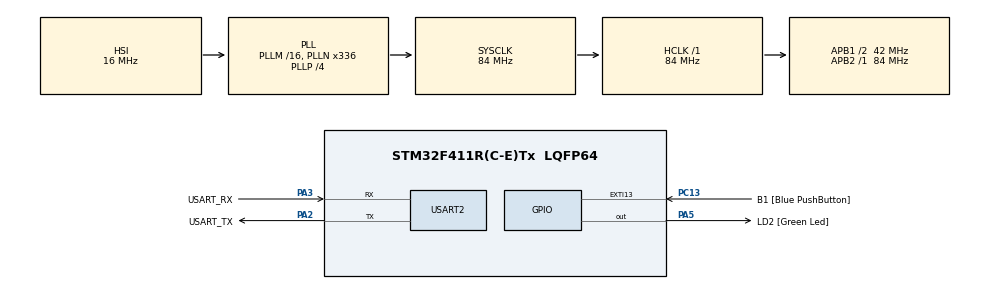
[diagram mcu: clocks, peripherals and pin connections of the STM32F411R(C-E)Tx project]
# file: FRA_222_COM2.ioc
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ARM.CMSIS.5.6.0.CMSISJjCORE=true
ARM.CMSIS.5.6.0.CMSISJjDSP=Library
Mcu.Family=STM32F4
Mcu.Name=STM32F411R(C-E)Tx
Mcu.Package=LQFP64
NVIC.PriorityGroup=NVIC_PRIORITYGROUP_0
PA13.GPIO_Label=TMS
PA13.Mode=Trace_Asynchronous_SW
PA13.Signal=SYS_JTMS-SWDIO
PA14.GPIO_Label=TCK
PA14.Mode=Trace_Asynchronous_SW
PA14.Signal=SYS_JTCK-SWCLK
PA2.GPIO_Label=USART_TX
PA2.Mode=Asynchronous
PA2.Signal=USART2_TX
PA3.GPIO_Label=USART_RX
PA3.Mode=Asynchronous
PA3.Signal=USART2_RX
PA5.GPIO_Label=LD2 [Green Led]
PA5.Signal=GPIO_Output
PB3.GPIO_Label=SWO
PB3.Mode=Trace_Asynchronous_SW
PB3.Signal=SYS_JTDO-SWO
PC13-ANTI_TAMP.GPIO_Label=B1 [Blue PushButton]
PC13-ANTI_TAMP.GPIO_ModeDefaultEXTI=GPIO_MODE_IT_FALLING
PC13-ANTI_TAMP.Signal=GPXTI13
PC14-OSC32_IN.Mode=LSE-External-Oscillator
PC14-OSC32_IN.Signal=RCC_OSC32_IN
PC15-OSC32_OUT.Mode=LSE-External-Oscillator
PC15-OSC32_OUT.Signal=RCC_OSC32_OUT
PH0\ -\ OSC_IN.Mode=HSE-External-Clock-Source
PH0\ -\ OSC_IN.Signal=RCC_OSC_IN
PH1\ -\ OSC_OUT.Mode=HSE-External-Clock-Source
PH1\ -\ OSC_OUT.Signal=RCC_OSC_OUT
ProjectManager.HeapSize=0x200
ProjectManager.StackSize=0x400
ProjectManager.TargetToolchain=STM32CubeIDE
RCC.48MHZClocksFreq_Value=84000000
RCC.AHBFreq_Value=84000000
RCC.APB1CLKDivider=RCC_HCLK_DIV2
RCC.APB1Freq_Value=42000000
RCC.APB1TimFreq_Value=84000000
RCC.APB2Freq_Value=84000000
RCC.APB2TimFreq_Value=84000000
RCC.CortexFreq_Value=84000000
RCC.FLatency-AdvancedSettings=FLASH_LATENCY_2
RCC.HCLKFreq_Value=84000000
RCC.HSE_VALUE=8000000
RCC.HSI_VALUE=16000000
RCC.PLLN=336
RCC.PLLP=RCC_PLLP_DIV4
RCC.SYSCLKFreq_VALUE=84000000
RCC.SYSCLKSource=RCC_SYSCLKSOURCE_PLLCLK
RCC.VCOOutputFreq_Value=336000000
TIM2.Prescaler=83
USART2.VirtualMode=VM_ASYNC
VP_ARM.CMSIS_VS_CMSISJjCORE_5.3.0_5.6.0.Mode=CMSISJjCORE
VP_ARM.CMSIS_VS_CMSISJjDSP_1.7.0_5.6.0.Mode=CMSISJjDSP
VP_TIM2_VS_ClockSourceINT.Mode=Internal
board=NUCLEO-F411RE

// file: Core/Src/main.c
/* USER CODE BEGIN Header */
/**
  ******************************************************************************
  * @file           : main.c
  * @brief          : Main program body
  ******************************************************************************
  * @attention
  *
  * Copyright (c) 2023 STMicroelectronics.
  * All rights reserved.
  *
  * This software is licensed under terms that can be found in the LICENSE file
  * in the root directory of this software component.
  * If no LICENSE file comes with this software, it is provided AS-IS.
  *
  ******************************************************************************
  */
/* USER CODE END Header */
#include "main.h"

/* USER CODE BEGIN Includes */
#include "arm_math.h"
/* USER CODE END Includes */

TIM_HandleTypeDef htim2;

UART_HandleTypeDef huart2;

/* USER CODE BEGIN PV */
arm_pid_instance_f32 PID = {0};
float position = 0;
float setposition = 0;
float Vfeedback = 0;
/* USER CODE END PV */

void SystemClock_Config(void);
static void MX_GPIO_Init(void);
static void MX_USART2_UART_Init(void);
static void MX_TIM2_Init(void);
/* USER CODE BEGIN PFP */
float PlantSim(float Vin);
/* USER CODE END PFP */

int main(void)
{

  /* MCU Configuration--------------------------------------------------------*/

  /* Reset of all peripherals, Initializes the Flash interface and the Systick. */
  HAL_Init();

  /* Configure the system clock */
  SystemClock_Config();

  /* Initialize all configured peripherals */
  MX_GPIO_Init();
  MX_USART2_UART_Init();
  MX_TIM2_Init();
  /* USER CODE BEGIN 2 */
  HAL_TIM_Base_Start(&htim2);
PID.Kp = 0.001;
PID.Kd = 0;
PID.Ki = 0;
arm_pid_init_f32(&PID, 0);
  /* USER CODE END 2 */

  /* Infinite loop */
while (1)
{
	  static uint32_t timestamp = 0;
	  if (timestamp < __HAL_TIM_GET_COUNTER(&htim2))
	  {
		  timestamp = __HAL_TIM_GET_COUNTER(&htim2) + 1000;

		  Vfeedback = arm_pid_f32(&PID, setposition-position);
		  position = PlantSim(Vfeedback);
	  }
}
}

void SystemClock_Config(void)
{
  RCC_OscInitTypeDef RCC_OscInitStruct = {0};
  RCC_ClkInitTypeDef RCC_ClkInitStruct = {0};

  /** Configure the main internal regulator output voltage
  */
  __HAL_RCC_PWR_CLK_ENABLE();
  __HAL_PWR_VOLTAGESCALING_CONFIG(PWR_REGULATOR_VOLTAGE_SCALE1);

  /** Initializes the RCC Oscillators according to the specified parameters
  * in the RCC_OscInitTypeDef structure.
  */
  RCC_OscInitStruct.OscillatorType = RCC_OSCILLATORTYPE_HSI;
  RCC_OscInitStruct.HSIState = RCC_HSI_ON;
  RCC_OscInitStruct.HSICalibrationValue = RCC_HSICALIBRATION_DEFAULT;
  RCC_OscInitStruct.PLL.PLLState = RCC_PLL_ON;
  RCC_OscInitStruct.PLL.PLLSource = RCC_PLLSOURCE_HSI;
  RCC_OscInitStruct.PLL.PLLM = 16;
  RCC_OscInitStruct.PLL.PLLN = 336;
  RCC_OscInitStruct.PLL.PLLP = RCC_PLLP_DIV4;
  RCC_OscInitStruct.PLL.PLLQ = 4;
  if (HAL_RCC_OscConfig(&RCC_OscInitStruct) != HAL_OK)
  {
    Error_Handler();
  }

  /** Initializes the CPU, AHB and APB buses clocks
  */
  RCC_ClkInitStruct.ClockType = RCC_CLOCKTYPE_HCLK|RCC_CLOCKTYPE_SYSCLK
                              |RCC_CLOCKTYPE_PCLK1|RCC_CLOCKTYPE_PCLK2;
  RCC_ClkInitStruct.SYSCLKSource = RCC_SYSCLKSOURCE_PLLCLK;
  RCC_ClkInitStruct.AHBCLKDivider = RCC_SYSCLK_DIV1;
  RCC_ClkInitStruct.APB1CLKDivider = RCC_HCLK_DIV2;
  RCC_ClkInitStruct.APB2CLKDivider = RCC_HCLK_DIV1;

  if (HAL_RCC_ClockConfig(&RCC_ClkInitStruct, FLASH_LATENCY_2) != HAL_OK)
  {
    Error_Handler();
  }
}

static void MX_TIM2_Init(void)
{

  TIM_ClockConfigTypeDef sClockSourceConfig = {0};
  TIM_MasterConfigTypeDef sMasterConfig = {0};

  htim2.Instance = TIM2;
  htim2.Init.Prescaler = 83;
  htim2.Init.CounterMode = TIM_COUNTERMODE_UP;
  htim2.Init.Period = 4294967295;
  htim2.Init.ClockDivision = TIM_CLOCKDIVISION_DIV1;
  htim2.Init.AutoReloadPreload = TIM_AUTORELOAD_PRELOAD_DISABLE;
  if (HAL_TIM_Base_Init(&htim2) != HAL_OK)
  {
    Error_Handler();
  }
  sClockSourceConfig.ClockSource = TIM_CLOCKSOURCE_INTERNAL;
  if (HAL_TIM_ConfigClockSource(&htim2, &sClockSourceConfig) != HAL_OK)
  {
    Error_Handler();
  }
  sMasterConfig.MasterOutputTrigger = TIM_TRGO_RESET;
  sMasterConfig.MasterSlaveMode = TIM_MASTERSLAVEMODE_DISABLE;
  if (HAL_TIMEx_MasterConfigSynchronization(&htim2, &sMasterConfig) != HAL_OK)
  {
    Error_Handler();
  }

}

static void MX_USART2_UART_Init(void)
{

  huart2.Instance = USART2;
  huart2.Init.BaudRate = 115200;
  huart2.Init.WordLength = UART_WORDLENGTH_8B;
  huart2.Init.StopBits = UART_STOPBITS_1;
  huart2.Init.Parity = UART_PARITY_NONE;
  huart2.Init.Mode = UART_MODE_TX_RX;
  huart2.Init.HwFlowCtl = UART_HWCONTROL_NONE;
  huart2.Init.OverSampling = UART_OVERSAMPLING_16;
  if (HAL_UART_Init(&huart2) != HAL_OK)
  {
    Error_Handler();
  }

}

static void MX_GPIO_Init(void)
{
  GPIO_InitTypeDef GPIO_InitStruct = {0};

  /* GPIO Ports Clock Enable */
  __HAL_RCC_GPIOC_CLK_ENABLE();
  __HAL_RCC_GPIOH_CLK_ENABLE();
  __HAL_RCC_GPIOA_CLK_ENABLE();
  __HAL_RCC_GPIOB_CLK_ENABLE();

  /*Configure GPIO pin Output Level */
  HAL_GPIO_WritePin(LD2_GPIO_Port, LD2_Pin, GPIO_PIN_RESET);

  /*Configure GPIO pin : B1_Pin */
  GPIO_InitStruct.Pin = B1_Pin;
  GPIO_InitStruct.Mode = GPIO_MODE_IT_FALLING;
  GPIO_InitStruct.Pull = GPIO_NOPULL;
  HAL_GPIO_Init(B1_GPIO_Port, &GPIO_InitStruct);

  /*Configure GPIO pin : LD2_Pin */
  GPIO_InitStruct.Pin = LD2_Pin;
  GPIO_InitStruct.Mode = GPIO_MODE_OUTPUT_PP;
  GPIO_InitStruct.Pull = GPIO_NOPULL;
  GPIO_InitStruct.Speed = GPIO_SPEED_FREQ_LOW;
  HAL_GPIO_Init(LD2_GPIO_Port, &GPIO_InitStruct);

}

/* USER CODE BEGIN 4 */
float PlantSim(float Vin)
{
	static float speed = 0;
	static float position = 0;
	float current = Vin - speed*0.0123;
	float torque = current* 0.456;
	float acc = torque * 0.789;
	speed += acc;
	position += speed;
	return position;
}
/* USER CODE END 4 */

void Error_Handler(void)
{
  __disable_irq();
  while (1)
  {
  }
}
